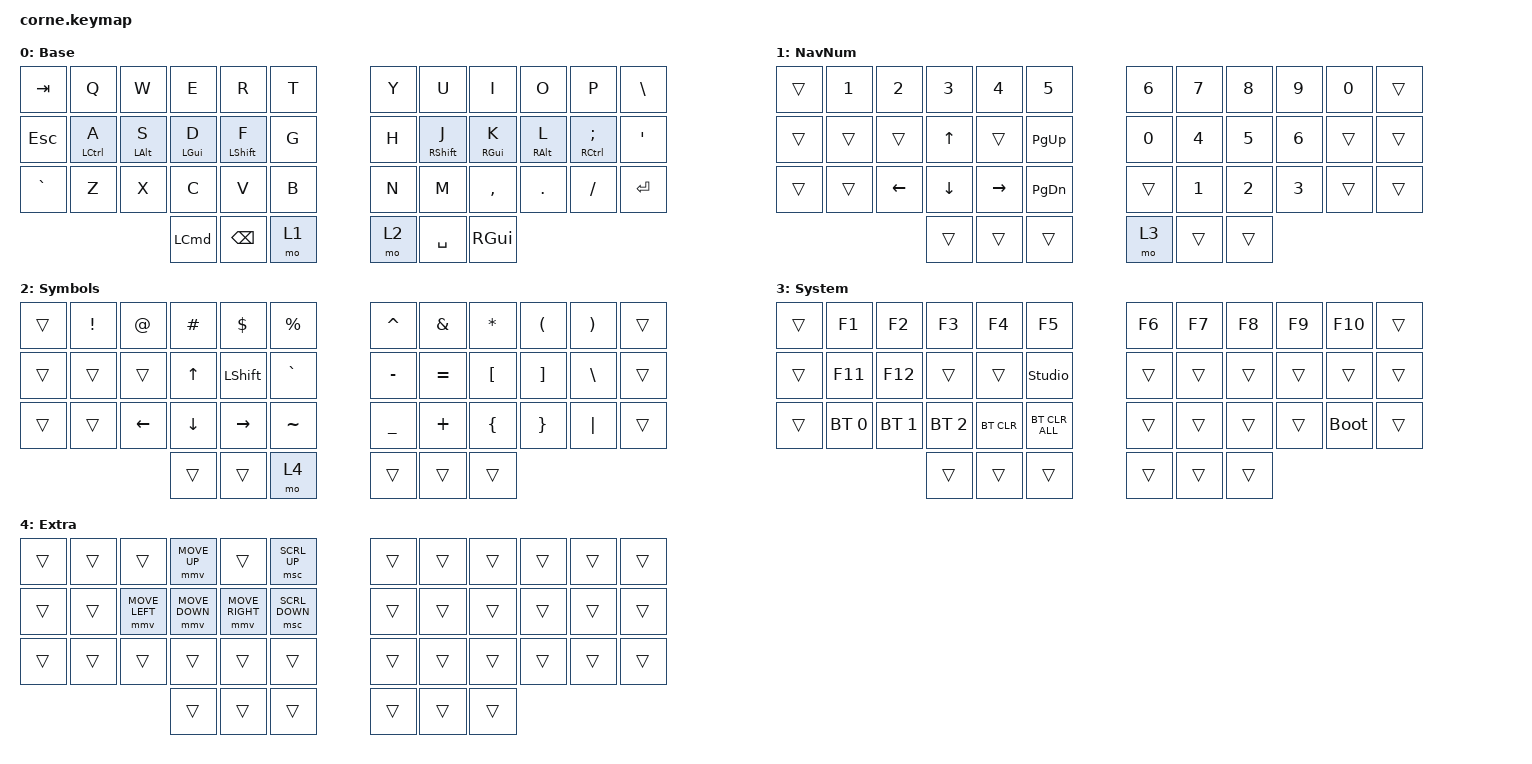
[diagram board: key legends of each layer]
#include <behaviors.dtsi>
#include <dt-bindings/zmk/bt.h>
#include <dt-bindings/zmk/keys.h>
#include <dt-bindings/zmk/pointing.h>

#define DEF 0
#define NAV 1
#define SYM 2
#define ADJ 3
#define EXTRA 4

/ {
    behaviors {
        hm: homerow_mods {
            compatible = "zmk,behavior-hold-tap";
            label = "HOMEROW_MODS";
            #binding-cells = <2>;
            tapping-term-ms = <200>;
            quick_tap_ms = <0>;
            flavor = "tap-preferred";
            bindings = <&kp>, <&kp>;

            quick-tap-ms = <180>;
            global-quick-tap;
        };

        para: para {
            compatible = "zmk,behavior-tap-dance";
            label = "PARA";
            #binding-cells = <0>;
            bindings = <&kp LEFT_PARENTHESIS>, <&kp RIGHT_PARENTHESIS>;
        };

        caps: caps {
            compatible = "zmk,behavior-caps-word";
            label = "CAPS";
            #binding-cells = <0>;
            continue-list = <MINUS BACKSPACE>;
        };

        paraless: paraless {
            compatible = "zmk,behavior-mod-morph";
            label = "PARALESS";
            bindings = <&kp LEFT_PARENTHESIS>, <&kp LESS_THAN>;

            #binding-cells = <0>;
            mods = <(MOD_LSFT)>;
        };

        paragreat: paragreat {
            compatible = "zmk,behavior-mod-morph";
            label = "PARAGREAT";
            bindings = <&kp RIGHT_PARENTHESIS>, <&kp GREATER_THAN>;

            #binding-cells = <0>;
            mods = <(MOD_LSFT)>;
        };
    };

    combos { compatible = "zmk,combos"; };

    //

    keymap {
        compatible = "zmk,keymap";

        DEF {
            display-name = "Base";

            // -----------------------------------------------------------------------------------------
            // |  Q  |  W  |  E  |  R  |  T  |   |  Y  |  U   |  I  |  O  |  P  |
            // |  A  |  S  |  D  |  F  |  G  |   |  H  |  J   |  K  |  L  |  ;  |
            // |  Z  |  X  |  C  |  V  |  B  |   |  N  |  M   |  ,  |  .  |  /  |
            // | GUI | CTRL | SHFT | LWR | SPC |   | ENT | RSE  | BKSP | ALT | ESC |

            bindings = <
&kp TAB     &kp Q        &kp W           &kp E           &kp R             &kp T    &kp Y  &kp U              &kp I            &kp O            &kp P           &kp BSLH
&kp ESCAPE  &hm LCTRL A  &hm LEFT_ALT S  &hm LEFT_GUI D  &hm LEFT_SHIFT F  &kp G    &kp H  &hm RIGHT_SHIFT J  &hm RIGHT_GUI K  &hm RIGHT_ALT L  &hm RCTRL SEMI  &kp SQT
&kp GRAVE   &kp Z        &kp X           &kp C           &kp V             &kp B    &kp N  &kp M              &kp COMMA        &kp DOT          &kp FSLH        &kp ENTER
                                         &kp LCMD        &kp BACKSPACE     &mo 1    &mo 2  &kp SPACE          &kp RIGHT_GUI
            >;
        };

        NAV {
            display-name = "NavNum";

            // -----------------------------------------------------------------------------------------
            // |  TAB |  1  |  2  |  3  |  4  |  5  |   |  6  |  7  |  8  |  9  |  0  | BKSP |
            // | BTCLR| BT1 | BT2 | BT3 | BT4 | BT5 |   | LFT | DWN |  UP | RGT |     |      |
            // | SHFT |     |     |     |     |     |   |     |     |     |     |     |      |
            // | GUI | CTRL | SHFT | LWR | SPC |   | ENT | RSE  | BKSP | ALT | ESC |

            bindings = <
&trans  &kp N1  &kp N2    &kp N3        &kp N4           &kp N5           &kp N6  &kp N7  &kp N8  &kp N9  &kp N0  &trans
&trans  &trans  &trans    &kp UP_ARROW  &trans           &kp PAGE_UP      &kp N0  &kp N4  &kp N5  &kp N6  &trans  &trans
&trans  &trans  &kp LEFT  &kp DOWN      &kp RIGHT_ARROW  &kp PAGE_DOWN    &trans  &kp N1  &kp N2  &kp N3  &trans  &trans
                          &trans        &trans           &trans           &mo 3   &trans  &trans
            >;
        };

        SYM {
            display-name = "Symbols";

            // -----------------------------------------------------------------------------------------
            // |  TAB |  !  |  @  |  #  |  $  |  %  |   |  ^  |  &  |  *  |  (  |  )  | BKSP |
            // | CTRL |     |     |     |     |     |   |  -  |  =  |  [  |  ]  |  \  |  `   |
            // | SHFT |     |     |     |     |     |   |  _  |  +  |  {  |  }  | "|" |  ~   |
            //                    | GUI |     | SPC |   | ENT |     | ALT |

            bindings = <
&trans  &kp EXCL  &kp AT          &kp HASH        &kp DLLR         &kp PRCNT    &kp CARET  &kp AMPS   &kp ASTRK  &kp LEFT_PARENTHESIS  &kp RPAR  &trans
&trans  &trans    &trans          &kp UP_ARROW    &kp LEFT_SHIFT   &kp GRAVE    &kp MINUS  &kp EQUAL  &kp LBKT   &kp RBKT              &kp BSLH  &trans
&trans  &trans    &kp LEFT_ARROW  &kp DOWN_ARROW  &kp RIGHT_ARROW  &kp TILDE    &kp UNDER  &kp PLUS   &kp LBRC   &kp RBRC              &kp PIPE  &trans
                                  &trans          &trans           &mo 4        &trans     &trans     &trans
            >;
        };

        ADJ {
            display-name = "System";
            bindings = <
&trans  &kp F1        &kp F2        &kp F3        &kp F4      &kp F5            &kp F6  &kp F7  &kp F8  &kp F9  &kp F10      &trans
&trans  &kp F11       &kp F12       &trans        &trans      &studio_unlock    &trans  &trans  &trans  &trans  &trans       &trans
&trans  &bt BT_SEL 0  &bt BT_SEL 1  &bt BT_SEL 2  &bt BT_CLR  &bt BT_CLR_ALL    &trans  &trans  &trans  &trans  &bootloader  &trans
                                    &trans        &trans      &trans            &trans  &trans  &trans
            >;
        };

        EXTRA {
            display-name = "Extra";
            bindings = <
&trans  &trans  &trans          &mmv MOVE_UP    &trans           &msc SCRL_UP      &trans  &trans  &trans  &trans  &trans  &trans
&trans  &trans  &mmv MOVE_LEFT  &mmv MOVE_DOWN  &mmv MOVE_RIGHT  &msc SCRL_DOWN    &trans  &trans  &trans  &trans  &trans  &trans
&trans  &trans  &trans          &trans          &trans           &trans            &trans  &trans  &trans  &trans  &trans  &trans
                                &trans          &trans           &trans            &trans  &trans  &trans
            >;
        };
    };

    conditional_layers {
        compatible = "zmk,conditional-layers";

        l3 {
            if-layers = <1 2>;
            then-layer = <3>;
        };
    };
};
